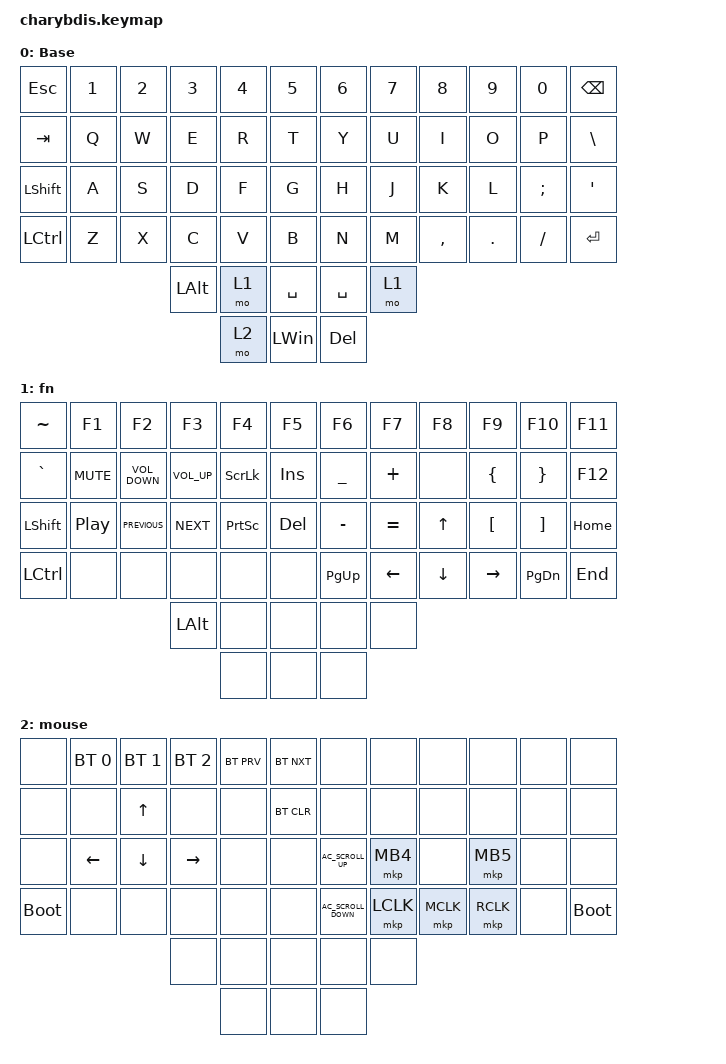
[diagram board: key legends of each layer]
#include <behaviors.dtsi>
#include <dt-bindings/zmk/bt.h>
#include <dt-bindings/zmk/keys.h>
#include <dt-bindings/zmk/mouse.h>

&lt {
    tapping-term-ms = <200>;
    flavor = "balanced";
    quick-tap-ms = <150>;
};

/ {
    keymap {
        compatible = "zmk,keymap";

        Base {
            bindings = <
&kp ESC         &kp N1  &kp N2  &kp N3        &kp N4  &kp N5          &kp N6      &kp N7  &kp N8     &kp N9   &kp N0     &kp BACKSPACE
&kp TAB         &kp Q   &kp W   &kp E         &kp R   &kp T           &kp Y       &kp U   &kp I      &kp O    &kp P      &kp BACKSLASH
&kp LEFT_SHIFT  &kp A   &kp S   &kp D         &kp F   &kp G           &kp H       &kp J   &kp K      &kp L    &kp SEMI   &kp APOS
&kp LCTRL       &kp Z   &kp X   &kp C         &kp V   &kp B           &kp N       &kp M   &kp COMMA  &kp DOT  &kp SLASH  &kp ENTER
                                &kp LEFT_ALT  &mo 1   &kp SPACE       &kp SPACE   &mo 1
                                              &mo 2   &kp LEFT_WIN    &kp DELETE
            >;

            trackball-bindings = <&tmv_coarse>;
        };

        fn {
            bindings = <
&kp TILDE  &kp F1            &kp F2             &kp F3           &kp F4           &kp F5        &kp F6          &kp F7     &kp F8    &kp F9            &kp F10            &kp F11
&kp GRAVE  &kp C_MUTE        &kp C_VOLUME_DOWN  &kp C_VOLUME_UP  &kp SCROLLLOCK   &kp INSERT    &kp UNDERSCORE  &kp PLUS   &none     &kp LEFT_BRACE    &kp RIGHT_BRACE    &kp F12
&kp LSHFT  &kp C_PLAY_PAUSE  &kp C_PREVIOUS     &kp C_NEXT       &kp PRINTSCREEN  &kp DELETE    &kp MINUS       &kp EQUAL  &kp UP    &kp LEFT_BRACKET  &kp RIGHT_BRACKET  &kp HOME
&kp LCTRL  &none             &none              &none            &none            &none         &kp PG_UP       &kp LEFT   &kp DOWN  &kp RIGHT         &kp PAGE_DOWN      &kp END
                                                &kp LALT         &none            &none         &none           &none
                                                                 &none            &none         &none
            >;
        };

        mouse {
            bindings = <
&none        &bt BT_SEL 0  &bt BT_SEL 1  &bt BT_SEL 2  &bt BT_PRV  &bt BT_NXT    &none                 &none      &none      &none      &none  &none
&none        &none         &kp UP        &none         &none       &bt BT_CLR    &none                 &none      &none      &none      &none  &none
&none        &kp LEFT      &kp DOWN      &kp RIGHT     &none       &none         &kp C_AC_SCROLL_UP    &mkp MB4   &none      &mkp MB5   &none  &none
&bootloader  &none         &none         &none         &none       &none         &kp C_AC_SCROLL_DOWN  &mkp LCLK  &mkp MCLK  &mkp RCLK  &none  &bootloader
                                         &none         &none       &none         &none                 &none
                                                       &none       &none         &none
            >;
        };
    };
};
